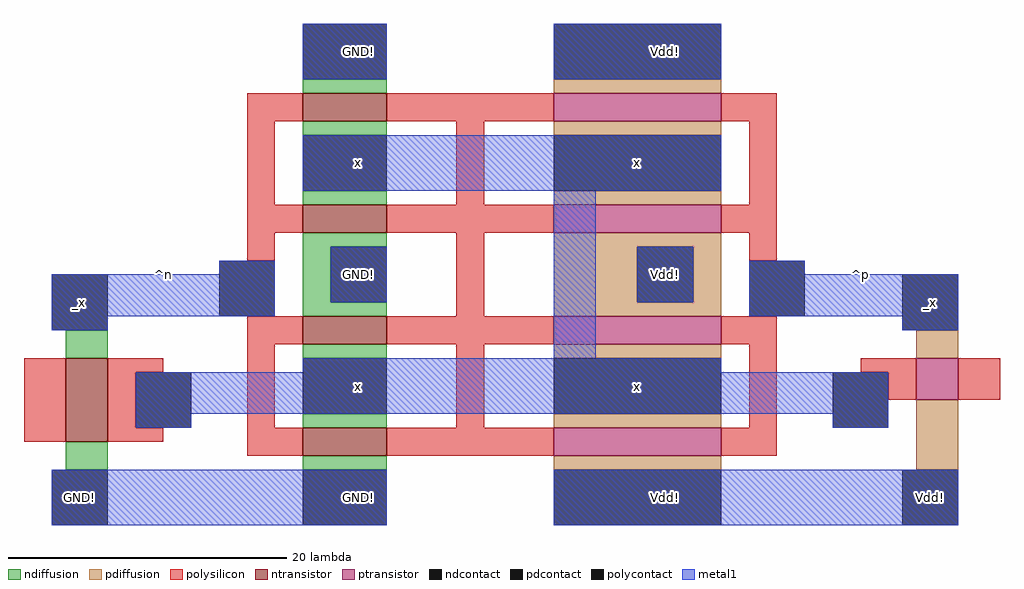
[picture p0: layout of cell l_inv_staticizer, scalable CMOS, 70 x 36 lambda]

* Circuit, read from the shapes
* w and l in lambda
.subckt l_inv_staticizer GND! Vdd! _x x
M1 _x x GND! VSUBS nfet w=3 l=6
M2 x _x GND! VSUBS nfet w=6 l=2 m=4
M3 x _x Vdd! NWELL pfet w=12 l=2 m=4
M4 _x x Vdd! NWELL pfet w=3 l=3
.ends

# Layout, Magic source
magic
tech scmos
<< ndiffusion >>
rect 110 92 116 93
rect 110 89 116 90
rect 110 84 116 85
rect 110 81 116 82
rect 110 77 112 81
rect 110 76 116 77
rect 93 73 96 75
rect 110 73 116 74
rect 110 68 116 69
rect 93 65 96 67
rect 110 65 116 66
<< pdiffusion >>
rect 128 92 140 93
rect 128 89 140 90
rect 128 84 140 85
rect 128 81 140 82
rect 128 77 134 81
rect 138 77 140 81
rect 128 76 140 77
rect 128 73 140 74
rect 128 68 140 69
rect 154 73 157 75
rect 128 65 140 66
rect 154 65 157 70
<< ntransistor >>
rect 110 90 116 92
rect 110 82 116 84
rect 110 74 116 76
rect 93 67 96 73
rect 110 66 116 68
<< ptransistor >>
rect 128 90 140 92
rect 128 82 140 84
rect 128 74 140 76
rect 154 70 157 73
rect 128 66 140 68
<< polysilicon >>
rect 106 90 110 92
rect 116 90 128 92
rect 140 90 144 92
rect 106 84 108 90
rect 121 84 123 90
rect 142 84 144 90
rect 106 82 110 84
rect 116 82 128 84
rect 140 82 144 84
rect 106 80 108 82
rect 121 76 123 82
rect 142 80 144 82
rect 106 74 110 76
rect 116 74 128 76
rect 140 74 144 76
rect 90 67 93 73
rect 96 72 100 73
rect 96 68 98 72
rect 106 68 108 74
rect 121 68 123 74
rect 142 68 144 74
rect 150 72 154 73
rect 152 70 154 72
rect 157 70 160 73
rect 96 67 100 68
rect 106 66 110 68
rect 116 66 128 68
rect 140 66 144 68
<< ndcontact >>
rect 110 93 116 97
rect 110 85 116 89
rect 92 75 96 79
rect 112 77 116 81
rect 110 69 116 73
rect 92 61 96 65
rect 110 61 116 65
<< pdcontact >>
rect 128 93 140 97
rect 128 85 140 89
rect 134 77 138 81
rect 153 75 157 79
rect 128 69 140 73
rect 128 61 140 65
rect 153 61 157 65
<< polycontact >>
rect 104 76 108 80
rect 142 76 146 80
rect 98 68 102 72
rect 148 68 152 72
<< metal1 >>
rect 110 93 116 97
rect 128 93 140 97
rect 110 85 140 89
rect 104 79 108 80
rect 92 76 108 79
rect 112 77 116 81
rect 92 75 96 76
rect 128 73 131 85
rect 134 77 138 81
rect 142 79 146 80
rect 142 76 157 79
rect 153 75 157 76
rect 110 72 140 73
rect 98 69 152 72
rect 98 68 102 69
rect 148 68 152 69
rect 92 61 116 65
rect 128 61 157 65
<< labels >>
rlabel space 89 60 111 98 7 ^n
rlabel space 139 60 161 98 3 ^p
rlabel ndcontact 114 71 114 71 1 x
rlabel ndcontact 114 87 114 87 1 x
rlabel ndcontact 114 63 114 63 1 GND!
rlabel ndcontact 114 79 114 79 5 GND!
rlabel ndcontact 114 95 114 95 5 GND!
rlabel pdcontact 134 87 134 87 1 x
rlabel pdcontact 134 71 134 71 1 x
rlabel pdcontact 136 79 136 79 5 Vdd!
rlabel pdcontact 136 63 136 63 1 Vdd!
rlabel pdcontact 136 95 136 95 5 Vdd!
rlabel ndcontact 94 63 94 63 1 GND!
rlabel ndcontact 94 77 94 77 5 _x
rlabel pdcontact 155 77 155 77 4 _x
rlabel metal1 155 63 155 63 1 Vdd!
<< end >>
